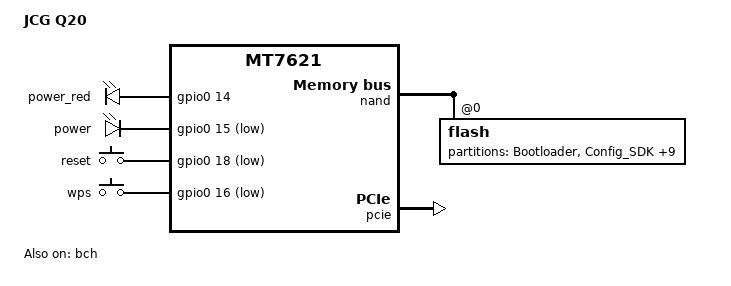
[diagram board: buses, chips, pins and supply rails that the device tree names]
/dts-v1/;

#include "mt7621.dtsi"
#include <dt-bindings/input/input.h>
#include "mt7621-raeth-gmac2.dtsi"
#include "mt7621-pinctrl-default-gpio.dtsi"

/ {
	compatible = "mediatek,mt7621-soc";
	model = "JCG Q20";

	chosen {
		bootargs = "console=ttyS0,115200";
	};

	leds {
		compatible = "gpio-leds";

		sys_red {
			label = "power_red";
			gpios = <&gpio0 14 GPIO_ACTIVE_HIGH>;
		};

		sys_blue {
			label = "power";
			gpios = <&gpio0 15 GPIO_ACTIVE_LOW>;
		};
	};

	gpio-keys-polled {
		compatible = "gpio-keys-polled";
		#address-cells = <1>;
		#size-cells = <0>;
		poll-interval = <20>;

		reset {
			label = "reset";
			gpios = <&gpio0 18 GPIO_ACTIVE_LOW>;
			linux,code = <KEY_RESTART>;
		};

		wps {
			label = "wps";
			gpios = <&gpio0 16 GPIO_ACTIVE_LOW>;
			linux,code = <KEY_WPS_BUTTON>;
		};
	};
};

&bch {
	status = "okay";
};

&nand {
	status = "okay";

	flash@0 {
		reg = <0>;
		nand-ecc-mode = "hw";
		partitions {
			compatible = "fixed-partitions";
			#address-cells = <1>;
			#size-cells = <1>;

			partition@0 {
				label = "Bootloader";
				reg = <0x0 0x80000>; /* 512k */
			};

			partition@80000 {
				label = "Config_SDK";
				reg = <0x80000 0x80000>; /* 512k */
				read-only;
			};

			partition@100000 {
				label = "Factory";
				reg = <0x100000 0x80000>; /* 512k */
				read-only;
			};

			partition@180000 {
				label = "firmware";
				reg = <0x180000 0x2000000>; /* 32M */
			};

			partition@2180000 {
				label = "firmware_backup";
				reg = <0x2180000 0x2000000>; /* 32m */
				read-only;
			};
			
			partition@4180000 {
				label = "rootfs_data_back";
				reg = <0x4180000 0x80000>; /* 512k */
				read-only;
			};
  
			partition@4200000 {
				label = "nvram_config";
				reg = <0x4200000 0x80000>; /* 512k */
				read-only;
			};
			
			partition@4280000 {
				label = "Config";
				reg = <0x4280000 0x80000>; /* 512K */
			};

			partition@4300000 {
				label = "Storage";
				reg = <0x4300000 0x400000>; /* 4M */
			};

			partition@4700000 {
				label = "RWFS";
				reg = <0x4700000 0x3880000>; /* 56.5M */
			};

			partition@all {
				label = "ALL";
				reg = <0x0 0x7f80000>;
			};
		};
	};
};

&pcie {
	status = "okay";
};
